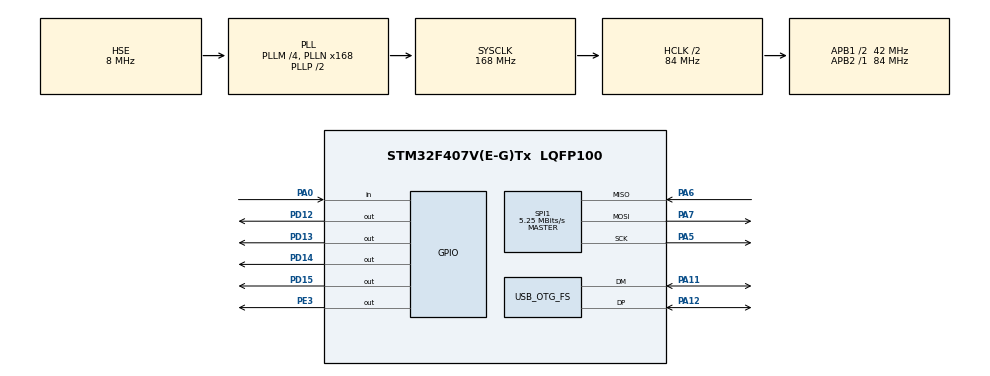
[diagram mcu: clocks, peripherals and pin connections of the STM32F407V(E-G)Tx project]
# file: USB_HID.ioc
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Mcu.Family=STM32F4
Mcu.Name=STM32F407V(E-G)Tx
Mcu.Package=LQFP100
NVIC.OTG_FS_IRQn=true\:0\:0\:false\:false\:true\:false\:true
NVIC.PriorityGroup=NVIC_PRIORITYGROUP_4
PA0-WKUP.Signal=GPIO_Input
PA11.Mode=Device_Only
PA11.Signal=USB_OTG_FS_DM
PA12.Mode=Device_Only
PA12.Signal=USB_OTG_FS_DP
PA5.Mode=Full_Duplex_Master
PA5.Signal=SPI1_SCK
PA6.Mode=Full_Duplex_Master
PA6.Signal=SPI1_MISO
PA7.Mode=Full_Duplex_Master
PA7.Signal=SPI1_MOSI
PD12.Signal=GPIO_Output
PD13.Signal=GPIO_Output
PD14.Signal=GPIO_Output
PD15.Signal=GPIO_Output
PE3.Signal=GPIO_Output
PH0-OSC_IN.Mode=HSE-External-Oscillator
PH0-OSC_IN.Signal=RCC_OSC_IN
PH1-OSC_OUT.Mode=HSE-External-Oscillator
PH1-OSC_OUT.Signal=RCC_OSC_OUT
ProjectManager.HeapSize=0x200
ProjectManager.StackSize=0x400
ProjectManager.TargetToolchain=STM32CubeIDE
RCC.48MHZClocksFreq_Value=48000000
RCC.AHBCLKDivider=RCC_SYSCLK_DIV2
RCC.AHBFreq_Value=84000000
RCC.APB1CLKDivider=RCC_HCLK_DIV2
RCC.APB1Freq_Value=42000000
RCC.APB1TimFreq_Value=84000000
RCC.APB2Freq_Value=84000000
RCC.APB2TimFreq_Value=84000000
RCC.CortexFreq_Value=84000000
RCC.HCLKFreq_Value=84000000
RCC.HSE_VALUE=8000000
RCC.HSI_VALUE=16000000
RCC.LSE_VALUE=32768
RCC.PLLM=4
RCC.PLLN=168
RCC.PLLQ=7
RCC.SYSCLKFreq_VALUE=168000000
RCC.SYSCLKSource=RCC_SYSCLKSOURCE_PLLCLK
RCC.VCOOutputFreq_Value=336000000
SPI1.BaudRatePrescaler=SPI_BAUDRATEPRESCALER_16
SPI1.CalculateBaudRate=5.25 MBits/s
SPI1.Direction=SPI_DIRECTION_2LINES
SPI1.Mode=SPI_MODE_MASTER
SPI1.VirtualType=VM_MASTER
USB_DEVICE.CLASS_NAME_FS=CUSTOM_HID
USB_DEVICE.VirtualMode-CUSTOM_HID_FS=CustomHid
USB_DEVICE.VirtualModeFS=Custom_Hid_FS
USB_OTG_FS.VirtualMode=Device_Only
VP_USB_DEVICE_VS_USB_DEVICE_CUSTOM_HID_FS.Mode=CUSTOM_HID_FS
board=custom

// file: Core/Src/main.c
/* USER CODE BEGIN Header */
/**
  ******************************************************************************
  * @file           : main.c
  * @brief          : Main program body
  ******************************************************************************
  * @attention
  *
  * <h2><center>&copy; Copyright (c) 2021 STMicroelectronics.
  * All rights reserved.</center></h2>
  *
  * This software component is licensed by ST under BSD 3-Clause license,
  * the "License"; You may not use this file except in compliance with the
  * License. You may obtain a copy of the License at:
  *                        opensource.org/licenses/BSD-3-Clause
  *
  ******************************************************************************
  */
/* USER CODE END Header */
#include "main.h"
#include "usb_device.h"

/* USER CODE BEGIN Includes */
#include "usbd_customhid.h"

#include "MY_LIS3DSH.h" //accelerometer library

/* USER CODE END Includes */

SPI_HandleTypeDef hspi1;

void SystemClock_Config(void);
static void MX_GPIO_Init(void);
static void MX_SPI1_Init(void);

/* USER CODE BEGIN 0 */
extern USBD_HandleTypeDef hUsbDeviceFS;
LIS3DSH_InitTypeDef myAccelInitDef; // for accelerometer
LIS3DSH_DataRaw myRawData; //holds x,y,z data

/* USER CODE END 0 */

int main(void)
{
  /* USER CODE BEGIN 1 */
  uint8_t mouseBuffer[4]; //4 bytes for mouse data,x,y,scroll up/down

  /* USER CODE END 1 */

  /* MCU Configuration--------------------------------------------------------*/

  /* Reset of all peripherals, Initializes the Flash interface and the Systick. */
  HAL_Init();

  /* Configure the system clock */
  SystemClock_Config();

  /* Initialize all configured peripherals */
  MX_GPIO_Init();
  MX_USB_DEVICE_Init();
  MX_SPI1_Init();
  /* USER CODE BEGIN 2 */

  //init mouse from descriptor using 4 bytes for mouse, but 74 bytes in descriptor info
  // mouse for descriptor from web only uses 3 bytes, comment last byte
  mouseBuffer[0] = 0; // right/left clicks (0 = none, 1 = left, 2 = right)
  mouseBuffer[1] = 0; // X move (0 = no move, +ve = right move, -ve = left)
  mouseBuffer[2] = 0; // Y move (0 = no move, +ve = up, -ve = down)
  mouseBuffer[3] = 0; // scroll (0 = no scroll, 1 = up, 2 = down)

  //use LIS3DSH.h to init
  myAccelInitDef.dataRate = LIS3DSH_DATARATE_25; // from .h
  myAccelInitDef.enableAxes = LIS3DSH_XYZ_ENABLE; //enable all x,y,z
  myAccelInitDef.fullScale = LIS3DSH_FULLSCALE_4;
  myAccelInitDef.interruptEnable = false;
  myAccelInitDef.antiAliasingBW = LIS3DSH_FILTER_BW_200;
  LIS3DSH_Init(&hspi1, &myAccelInitDef );

  /* USER CODE END 2 */

  /* Infinite loop */
  while (1)
  {

    /* USER CODE BEGIN 3 */

	// before read raw accelerometer data, poll for data ready (as we are now using interrupt)
	if(LIS3DSH_PollDRDY(100)) //timeout 100ms , if true means we have a data ready
	{
		myRawData = LIS3DSH_GetDataRaw(); // of type data raw
		mouseBuffer[1] = (myRawData.x >>8); //shifted by 8 to take MSB, as mouseBuffer is 1 byte, myRawData = 2 bytes (16 bits)
		mouseBuffer[2] = -(myRawData.y >>8); // -ve as y for mouse is ssawpped around

		// read click (button)  state (0,1 or 2)
		mouseBuffer[0] = HAL_GPIO_ReadPin(GPIOA, GPIO_PIN_0);
		//update USB mouse report for button only, press button = left click
		USBD_CUSTOM_HID_SendReport(&hUsbDeviceFS, mouseBuffer, 3); //3 bytes for new descr, 4 for STM demo
		HAL_Delay(100);

	}

	/* no accelerometer */
//	// read click (button)  state to assign it as 0, 1 or 2 (updates continuously)
//	mouseBuffer[0] = HAL_GPIO_ReadPin(GPIOA, GPIO_PIN_0); // if 2* HAL... will do right click
//	//update USB mouse report for button only, press button = left click
//	USBD_CUSTOM_HID_SendReport(&hUsbDeviceFS, mouseBuffer, 4);
//	HAL_Delay(100);

  }
  /* USER CODE END 3 */
}

void SystemClock_Config(void)
{
  RCC_OscInitTypeDef RCC_OscInitStruct = {0};
  RCC_ClkInitTypeDef RCC_ClkInitStruct = {0};

  /** Configure the main internal regulator output voltage
  */
  __HAL_RCC_PWR_CLK_ENABLE();
  __HAL_PWR_VOLTAGESCALING_CONFIG(PWR_REGULATOR_VOLTAGE_SCALE1);
  /** Initializes the RCC Oscillators according to the specified parameters
  * in the RCC_OscInitTypeDef structure.
  */
  RCC_OscInitStruct.OscillatorType = RCC_OSCILLATORTYPE_HSE;
  RCC_OscInitStruct.HSEState = RCC_HSE_ON;
  RCC_OscInitStruct.PLL.PLLState = RCC_PLL_ON;
  RCC_OscInitStruct.PLL.PLLSource = RCC_PLLSOURCE_HSE;
  RCC_OscInitStruct.PLL.PLLM = 4;
  RCC_OscInitStruct.PLL.PLLN = 168;
  RCC_OscInitStruct.PLL.PLLP = RCC_PLLP_DIV2;
  RCC_OscInitStruct.PLL.PLLQ = 7;
  if (HAL_RCC_OscConfig(&RCC_OscInitStruct) != HAL_OK)
  {
    Error_Handler();
  }
  /** Initializes the CPU, AHB and APB buses clocks
  */
  RCC_ClkInitStruct.ClockType = RCC_CLOCKTYPE_HCLK|RCC_CLOCKTYPE_SYSCLK
                              |RCC_CLOCKTYPE_PCLK1|RCC_CLOCKTYPE_PCLK2;
  RCC_ClkInitStruct.SYSCLKSource = RCC_SYSCLKSOURCE_PLLCLK;
  RCC_ClkInitStruct.AHBCLKDivider = RCC_SYSCLK_DIV2;
  RCC_ClkInitStruct.APB1CLKDivider = RCC_HCLK_DIV2;
  RCC_ClkInitStruct.APB2CLKDivider = RCC_HCLK_DIV1;

  if (HAL_RCC_ClockConfig(&RCC_ClkInitStruct, FLASH_LATENCY_2) != HAL_OK)
  {
    Error_Handler();
  }
}

static void MX_SPI1_Init(void)
{

  /* SPI1 parameter configuration*/
  hspi1.Instance = SPI1;
  hspi1.Init.Mode = SPI_MODE_MASTER;
  hspi1.Init.Direction = SPI_DIRECTION_2LINES;
  hspi1.Init.DataSize = SPI_DATASIZE_8BIT;
  hspi1.Init.CLKPolarity = SPI_POLARITY_LOW;
  hspi1.Init.CLKPhase = SPI_PHASE_1EDGE;
  hspi1.Init.NSS = SPI_NSS_SOFT;
  hspi1.Init.BaudRatePrescaler = SPI_BAUDRATEPRESCALER_16;
  hspi1.Init.FirstBit = SPI_FIRSTBIT_MSB;
  hspi1.Init.TIMode = SPI_TIMODE_DISABLE;
  hspi1.Init.CRCCalculation = SPI_CRCCALCULATION_DISABLE;
  hspi1.Init.CRCPolynomial = 10;
  if (HAL_SPI_Init(&hspi1) != HAL_OK)
  {
    Error_Handler();
  }

}

static void MX_GPIO_Init(void)
{
  GPIO_InitTypeDef GPIO_InitStruct = {0};

  /* GPIO Ports Clock Enable */
  __HAL_RCC_GPIOE_CLK_ENABLE();
  __HAL_RCC_GPIOH_CLK_ENABLE();
  __HAL_RCC_GPIOA_CLK_ENABLE();
  __HAL_RCC_GPIOD_CLK_ENABLE();

  /*Configure GPIO pin Output Level */
  HAL_GPIO_WritePin(GPIOE, GPIO_PIN_3, GPIO_PIN_RESET);

  /*Configure GPIO pin Output Level */
  HAL_GPIO_WritePin(GPIOD, GPIO_PIN_12|GPIO_PIN_13|GPIO_PIN_14|GPIO_PIN_15, GPIO_PIN_RESET);

  /*Configure GPIO pin : PE3 */
  GPIO_InitStruct.Pin = GPIO_PIN_3;
  GPIO_InitStruct.Mode = GPIO_MODE_OUTPUT_PP;
  GPIO_InitStruct.Pull = GPIO_NOPULL;
  GPIO_InitStruct.Speed = GPIO_SPEED_FREQ_LOW;
  HAL_GPIO_Init(GPIOE, &GPIO_InitStruct);

  /*Configure GPIO pin : PA0 */
  GPIO_InitStruct.Pin = GPIO_PIN_0;
  GPIO_InitStruct.Mode = GPIO_MODE_INPUT;
  GPIO_InitStruct.Pull = GPIO_NOPULL;
  HAL_GPIO_Init(GPIOA, &GPIO_InitStruct);

  /*Configure GPIO pins : PD12 PD13 PD14 PD15 */
  GPIO_InitStruct.Pin = GPIO_PIN_12|GPIO_PIN_13|GPIO_PIN_14|GPIO_PIN_15;
  GPIO_InitStruct.Mode = GPIO_MODE_OUTPUT_PP;
  GPIO_InitStruct.Pull = GPIO_NOPULL;
  GPIO_InitStruct.Speed = GPIO_SPEED_FREQ_LOW;
  HAL_GPIO_Init(GPIOD, &GPIO_InitStruct);

}

void Error_Handler(void)
{
  __disable_irq();
  while (1)
  {
  }
}

/************************ (C) COPYRIGHT STMicroelectronics *****END OF FILE****/
